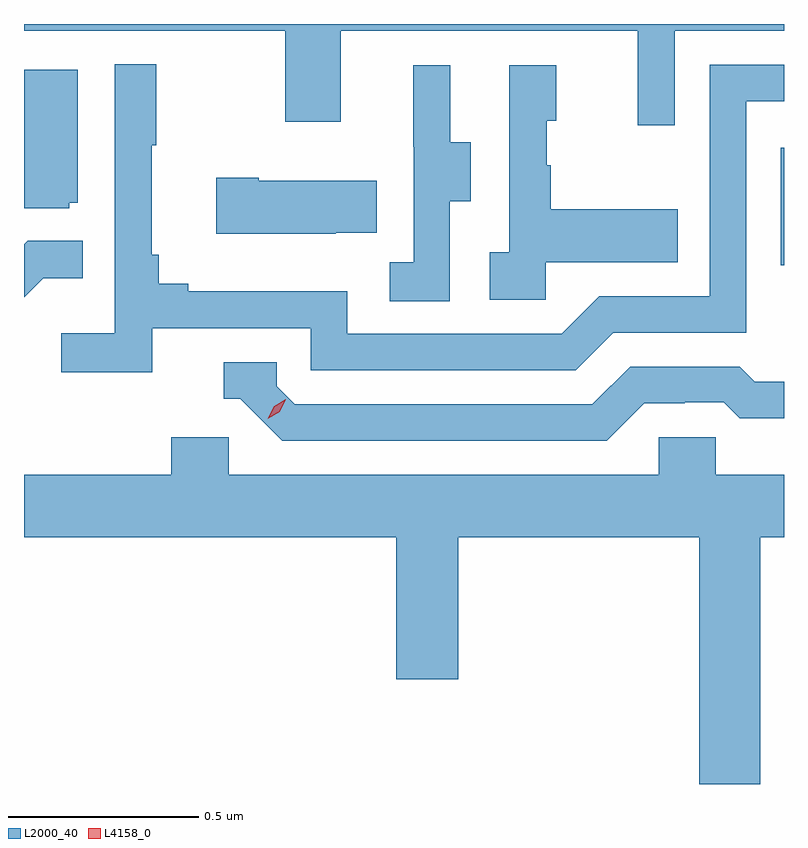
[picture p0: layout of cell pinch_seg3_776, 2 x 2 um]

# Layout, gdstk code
import gdstk
lib = gdstk.Library(unit=1e-6, precision=1e-09)
def R(c, l, rs):  # rectangles x0, y0, x1, y1
    for r in rs: c.add(gdstk.rectangle(r[:2], r[2:], *l))
def P(c, l, *ps):  # polygons
    for p in ps: c.add(gdstk.Polygon(p, *l))
L2000_40 = (2000, 40)
L4158_0 = (4158, 0)

pinch_seg3_776 = lib.new_cell('pinch_seg3_776')
R(pinch_seg3_776, L2000_40, [(849.336,744.255,849.345,744.564)])
P(pinch_seg3_776, L2000_40, [(849.057,744.872),(849.345,744.872),(849.345,744.89),(847.345,744.89),(847.345,744.872),(848.032,744.872),(848.032,744.633),(848.179,744.633),(848.179,744.872),(848.96,744.872),(848.96,744.624),(849.057,744.624)],
  [(847.682,744.09),(848.1,744.09),(848.1,743.979),(848.797,743.979),(848.896,744.078),(849.246,744.078),(849.246,744.687),(849.345,744.687),(849.345,744.783),(849.15,744.783),(849.15,744.174),(848.859,744.174),(848.76,744.075),(848.196,744.075),(848.196,744.187),(847.777,744.187),(847.777,744.206),(847.7,744.206),(847.7,744.283),(847.681,744.283),(847.681,744.571),(847.693,744.571),(847.693,744.784),(847.584,744.784),(847.584,744.076),(847.443,744.076),(847.443,743.974),(847.682,743.974)],
  [(848.466,744.424),(848.521,744.424),(848.521,744.579),(848.467,744.579),(848.467,744.781),(848.369,744.781),(848.369,744.567),(848.37,744.567),(848.37,744.263),(848.307,744.263),(848.307,744.16),(848.466,744.16)],
  [(848.718,744.263),(849.065,744.263),(849.065,744.403),(848.731,744.403),(848.731,744.518),(848.721,744.518),(848.721,744.636),(848.746,744.636),(848.746,744.781),(848.622,744.781),(848.622,744.29),(848.571,744.29),(848.571,744.165),(848.718,744.165)],
  [(847.464,744.42),(847.486,744.42),(847.486,744.769),(847.345,744.769),(847.345,744.405),(847.464,744.405)],
  [(848.165,744.341),(848.273,744.341),(848.273,744.478),(847.963,744.478),(847.963,744.486),(847.851,744.486),(847.851,744.338),(848.165,744.338)],
  [(847.395,744.221),(847.499,744.221),(847.499,744.32),(847.355,744.32),(847.345,744.31),(847.345,744.171)],
  [(848.977,743.892),(849.084,743.892),(849.084,743.895),(849.187,743.895),(849.229,743.853),(849.345,743.853),(849.345,743.949),(849.268,743.949),(849.229,743.988),(848.94,743.988),(848.841,743.889),(848.058,743.889),(848.01,743.937),(848.01,744),(847.871,744),(847.871,743.904),(847.914,743.904),(848.025,743.793),(848.878,743.793)],
  [(849.282,743.54),(849.345,743.54),(849.345,743.704),(849.165,743.704),(849.165,743.802),(849.015,743.802),(849.015,743.704),(847.884,743.704),(847.884,743.802),(847.733,743.802),(847.733,743.704),(847.345,743.704),(847.345,743.54),(848.324,743.54),(848.324,743.166),(848.488,743.166),(848.488,743.54),(849.122,743.54),(849.122,742.89),(849.282,742.89)])
P(pinch_seg3_776, L4158_0, [(847.986,743.851),(847.986,743.851),(848.003,743.884),(848.034,743.903),(848.034,743.903),(848.034,743.903),(848.018,743.87),(847.987,743.851)])

lib.write_gds('pinch_seg3_776.gds')
